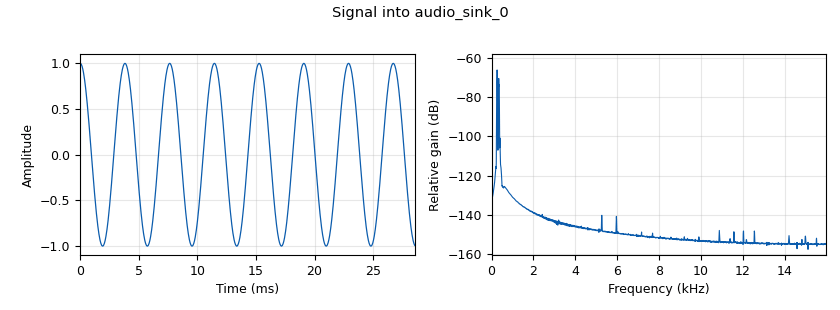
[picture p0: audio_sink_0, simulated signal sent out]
options:
  parameters:
    generate_options: qt_gui
    id: happy_birthday
    output_language: python
    title: Not titled yet
  states: {}

blocks:
- name: samp_rate
  id: variable
  parameters:
    value: '32000'
  states: {}
- name: analog_sig_source_x_0
  id: analog_sig_source_x
  parameters:
    amp: '1'
    freq: '262'
    offset: '0'
    phase: '0'
    samp_rate: samp_rate
    type: float
    waveform: analog.GR_COS_WAVE
  states: {}
- name: analog_sig_source_x_0_0
  id: analog_sig_source_x
  parameters:
    amp: '1'
    freq: '293.66'
    offset: '0'
    phase: '0'
    samp_rate: samp_rate
    type: float
    waveform: analog.GR_COS_WAVE
  states: {}
- name: analog_sig_source_x_0_0_0
  id: analog_sig_source_x
  parameters:
    amp: '1'
    freq: '349.23'
    offset: '0'
    phase: '0'
    samp_rate: samp_rate
    type: float
    waveform: analog.GR_COS_WAVE
  states: {}
- name: analog_sig_source_x_0_0_0_0
  id: analog_sig_source_x
  parameters:
    amp: '1'
    freq: '329.63'
    offset: '0'
    phase: '0'
    samp_rate: samp_rate
    type: float
    waveform: analog.GR_COS_WAVE
  states: {}
- name: analog_sig_source_x_0_0_0_0_0
  id: analog_sig_source_x
  parameters:
    amp: '1'
    freq: '392'
    offset: '0'
    phase: '0'
    samp_rate: samp_rate
    type: float
    waveform: analog.GR_COS_WAVE
  states: {}
- name: analog_sig_source_x_0_0_0_0_0_0
  id: analog_sig_source_x
  parameters:
    amp: '1'
    freq: '523.25'
    offset: '0'
    phase: '0'
    samp_rate: samp_rate
    type: float
    waveform: analog.GR_COS_WAVE
  states: {}
- name: analog_sig_source_x_0_0_0_0_0_0_0
  id: analog_sig_source_x
  parameters:
    amp: '1'
    freq: '440'
    offset: '0'
    phase: '0'
    samp_rate: samp_rate
    type: float
    waveform: analog.GR_COS_WAVE
  states: {}
- name: analog_sig_source_x_0_0_0_0_0_0_1
  id: analog_sig_source_x
  parameters:
    amp: '1'
    freq: '466.16'
    offset: '0'
    phase: '0'
    samp_rate: samp_rate
    type: float
    waveform: analog.GR_COS_WAVE
  states: {}
- name: audio_sink_0
  id: audio_sink
  parameters:
    ok_to_block: 'False'
    samp_rate: samp_rate
  states: {}
- name: blocks_stream_mux_0
  id: blocks_stream_mux
  parameters:
    lengths: (16000, 16000, 16000, 16000, 16000, 16000, 16000, 16000, 16000, 16000, 16000, 16000, 16000, 16000, 16000, 16000, 16000, 16000, 16000, 16000, 16000, 16000, 16000, 16000, 16000)
    num_inputs: '25'
    type: float
  states: {}
- name: blocks_throttle_0
  id: blocks_throttle
  parameters:
    samples_per_second: samp_rate
    type: float
  states: {}

connections:
- [analog_sig_source_x_0, '0', blocks_stream_mux_0, '0']
- [analog_sig_source_x_0, '0', blocks_stream_mux_0, '1']
- [analog_sig_source_x_0, '0', blocks_stream_mux_0, '12']
- [analog_sig_source_x_0, '0', blocks_stream_mux_0, '13']
- [analog_sig_source_x_0, '0', blocks_stream_mux_0, '3']
- [analog_sig_source_x_0, '0', blocks_stream_mux_0, '6']
- [analog_sig_source_x_0, '0', blocks_stream_mux_0, '7']
- [analog_sig_source_x_0, '0', blocks_stream_mux_0, '9']
- [analog_sig_source_x_0_0, '0', blocks_stream_mux_0, '2']
- [analog_sig_source_x_0_0, '0', blocks_stream_mux_0, '8']
- [analog_sig_source_x_0_0_0, '0', blocks_stream_mux_0, '11']
- [analog_sig_source_x_0_0_0, '0', blocks_stream_mux_0, '17']
- [analog_sig_source_x_0_0_0, '0', blocks_stream_mux_0, '22']
- [analog_sig_source_x_0_0_0, '0', blocks_stream_mux_0, '24']
- [analog_sig_source_x_0_0_0, '0', blocks_stream_mux_0, '4']
- [analog_sig_source_x_0_0_0_0, '0', blocks_stream_mux_0, '18']
- [analog_sig_source_x_0_0_0_0, '0', blocks_stream_mux_0, '5']
- [analog_sig_source_x_0_0_0_0_0, '0', blocks_stream_mux_0, '10']
- [analog_sig_source_x_0_0_0_0_0, '0', blocks_stream_mux_0, '16']
- [analog_sig_source_x_0_0_0_0_0, '0', blocks_stream_mux_0, '23']
- [analog_sig_source_x_0_0_0_0_0_0, '0', blocks_stream_mux_0, '14']
- [analog_sig_source_x_0_0_0_0_0_0_0, '0', blocks_stream_mux_0, '15']
- [analog_sig_source_x_0_0_0_0_0_0_0, '0', blocks_stream_mux_0, '21']
- [analog_sig_source_x_0_0_0_0_0_0_1, '0', blocks_stream_mux_0, '19']
- [analog_sig_source_x_0_0_0_0_0_0_1, '0', blocks_stream_mux_0, '20']
- [blocks_stream_mux_0, '0', blocks_throttle_0, '0']
- [blocks_throttle_0, '0', audio_sink_0, '0']

metadata:
  file_format: 1
